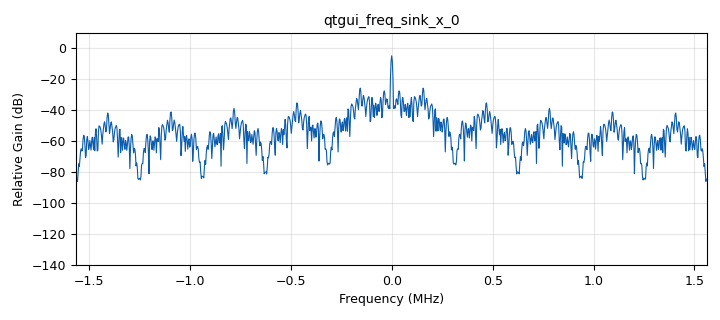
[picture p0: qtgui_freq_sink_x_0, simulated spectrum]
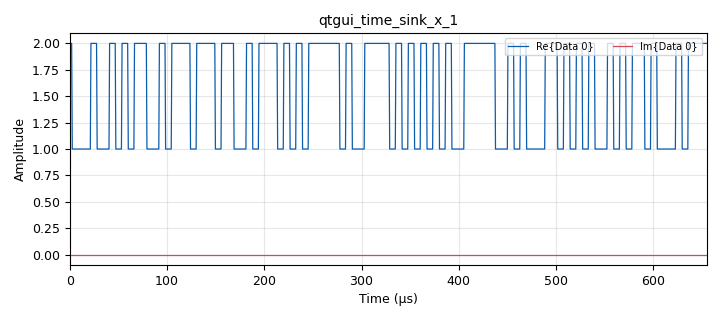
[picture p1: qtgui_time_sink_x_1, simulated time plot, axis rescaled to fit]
options:
  parameters:
    author: JAIRO_KAREN_EDSON
    copyright: UIS
    description: MODULACION GNU
    generate_options: qt_gui
    id: grupo_5_jairo_edson_karen
    output_language: python
    title: MODULACION ASK
  states: {}

blocks:
- name: Ac
  id: variable_qtgui_range
  parameters:
    label: Amplitud de la portadora
    start: '0'
    step: '0.1'
    stop: '2'
    value: '1'
  states: {}
- name: DC
  id: variable_qtgui_range
  parameters:
    label: nivel DC
    start: '-2'
    step: '0.1'
    stop: '2'
    value: '1'
  states: {}
- name: GRX
  id: variable_qtgui_range
  parameters:
    label: Ganacia del receptor
    start: '0'
    step: '500e-3'
    stop: '31'
    value: '0'
  states: {}
- name: GTX
  id: variable_qtgui_range
  parameters:
    label: Ganancia del transmisor
    start: '0'
    step: '1'
    stop: '30'
    value: '0'
  states: {}
- name: Ka
  id: variable_qtgui_range
  parameters:
    label: coeficiente de sensibilidad ka
    start: '0'
    step: '0.1'
    stop: '1'
    value: '1'
  states: {}
- name: fc
  id: variable_qtgui_range
  parameters:
    label: Frecuencia de la portadora
    start: 50e6
    step: 1e6
    stop: 2200e6
    value: 50e6
  states: {}
- name: samp_rate
  id: variable
  parameters:
    value: 1.5625E6
  states: {}
- name: analog_random_source_x_0
  id: analog_random_source_x
  parameters:
    max: '2'
    min: '0'
    num_samps: int(samp_rate)
    repeat: 'True'
    type: byte
  states: {}
- name: blocks_add_const_vxx_0
  id: blocks_add_const_vxx
  parameters:
    const: DC
    type: float
  states: {}
- name: blocks_float_to_complex_0
  id: blocks_float_to_complex
  parameters: {}
  states: {}
- name: blocks_multiply_const_vxx_0
  id: blocks_multiply_const_vxx
  parameters:
    const: Ka
    type: float
  states: {}
- name: blocks_multiply_const_vxx_1
  id: blocks_multiply_const_vxx
  parameters:
    const: Ac
    type: complex
  states: {}
- name: blocks_null_source_0
  id: blocks_null_source
  parameters:
    type: float
  states: {}
- name: blocks_repeat_0
  id: blocks_repeat
  parameters:
    interp: '10'
    type: float
  states: {}
- name: blocks_uchar_to_float_0
  id: blocks_uchar_to_float
  parameters: {}
  states: {}
- name: qtgui_freq_sink_x_0
  id: qtgui_freq_sink_x
  parameters:
    bw: 2*samp_rate
    fc: '0'
    fftsize: '1024'
    type: complex
  states: {}
- name: qtgui_time_sink_x_1
  id: qtgui_time_sink_x
  parameters:
    size: '1024'
    srate: samp_rate
    type: complex
  states: {}
- name: uhd_usrp_sink_0
  id: uhd_usrp_sink
  parameters:
    ant0: '"TX/RX"'
    center_freq0: fc
    gain0: GTX
    samp_rate: samp_rate
    sync: pc_clock
    type: fc32
  states: {}

connections:
- [analog_random_source_x_0, '0', blocks_uchar_to_float_0, '0']
- [blocks_add_const_vxx_0, '0', blocks_float_to_complex_0, '0']
- [blocks_float_to_complex_0, '0', blocks_multiply_const_vxx_1, '0']
- [blocks_multiply_const_vxx_0, '0', blocks_add_const_vxx_0, '0']
- [blocks_multiply_const_vxx_1, '0', qtgui_freq_sink_x_0, '0']
- [blocks_multiply_const_vxx_1, '0', qtgui_time_sink_x_1, '0']
- [blocks_multiply_const_vxx_1, '0', uhd_usrp_sink_0, '0']
- [blocks_null_source_0, '0', blocks_float_to_complex_0, '1']
- [blocks_repeat_0, '0', blocks_multiply_const_vxx_0, '0']
- [blocks_uchar_to_float_0, '0', blocks_repeat_0, '0']

metadata:
  file_format: 1
